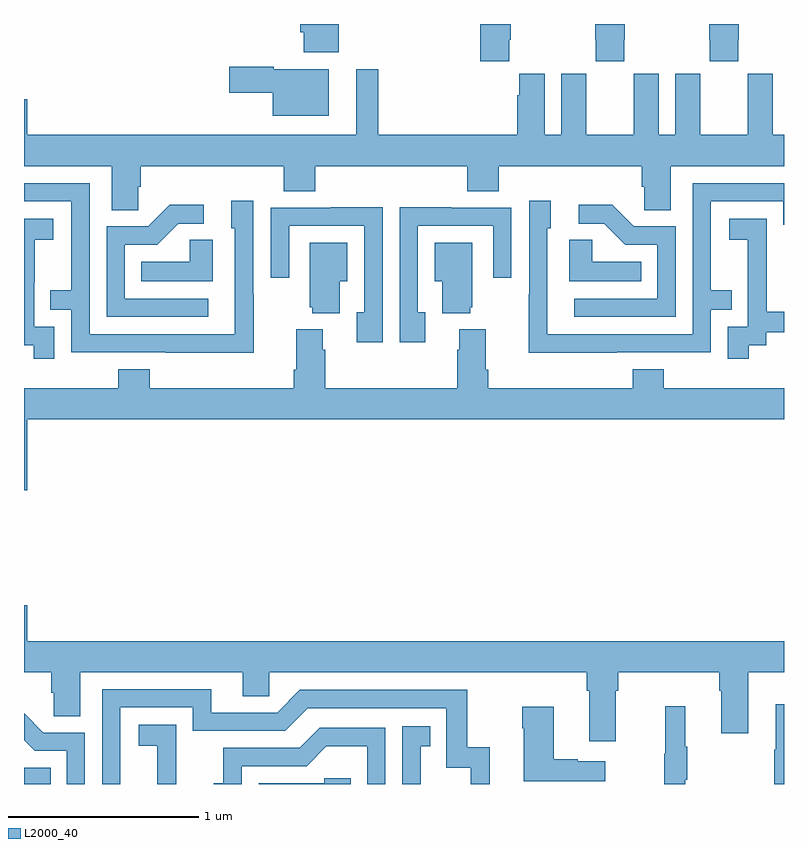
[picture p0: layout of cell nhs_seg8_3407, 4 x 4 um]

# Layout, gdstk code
import gdstk
lib = gdstk.Library(unit=1e-6, precision=1e-09)
def R(c, l, rs):  # rectangles x0, y0, x1, y1
    for r in rs: c.add(gdstk.rectangle(r[:2], r[2:], *l))
def P(c, l, *ps):  # polygons
    for p in ps: c.add(gdstk.Polygon(p, *l))
L2000_40 = (2000, 40)

nhs_seg8_3407 = lib.new_cell('nhs_seg8_3407')
R(nhs_seg8_3407, L2000_40, [(321,1127.9,321.14,1127.986)])
P(nhs_seg8_3407, L2000_40, [(322.657,1131.9),(322.453,1131.9),(322.453,1131.856),(322.473,1131.856),(322.473,1131.752),(322.657,1131.752)],
  [(324.759,1131.817),(324.762,1131.817),(324.762,1131.9),(324.607,1131.9),(324.607,1131.817),(324.609,1131.817),(324.609,1131.705),(324.759,1131.705)],
  [(324.159,1131.817),(324.162,1131.817),(324.162,1131.9),(324.007,1131.9),(324.007,1131.817),(324.009,1131.817),(324.009,1131.705),(324.159,1131.705)],
  [(323.555,1131.817),(323.562,1131.817),(323.562,1131.9),(323.402,1131.9),(323.402,1131.705),(323.555,1131.705)],
  [(322.603,1131.661),(322.314,1131.661),(322.314,1131.674),(322.08,1131.674),(322.08,1131.539),(322.31,1131.539),(322.31,1131.416),(322.603,1131.416)],
  [(321.6,1131.043),(321.614,1131.043),(321.614,1131.152),(322.367,1131.152),(322.367,1131.019),(322.532,1131.019),(322.532,1131.152),(323.333,1131.152),(323.333,1131.019),(323.498,1131.019),(323.498,1131.152),(324.251,1131.152),(324.251,1131.043),(324.264,1131.043),(324.264,1130.92),(324.403,1130.92),(324.403,1131.152),(325,1131.152),(325,1131.316),(324.94,1131.316),(324.94,1131.637),(324.81,1131.637),(324.81,1131.524),(324.809,1131.524),(324.809,1131.316),(324.559,1131.316),(324.559,1131.524),(324.558,1131.524),(324.558,1131.637),(324.428,1131.637),(324.428,1131.316),(324.34,1131.316),(324.34,1131.637),(324.21,1131.637),(324.21,1131.524),(324.209,1131.524),(324.209,1131.316),(323.959,1131.316),(323.959,1131.524),(323.958,1131.524),(323.958,1131.637),(323.828,1131.637),(323.828,1131.316),(323.74,1131.316),(323.74,1131.637),(323.606,1131.637),(323.606,1131.524),(323.597,1131.524),(323.597,1131.316),(322.865,1131.316),(322.865,1131.661),(322.748,1131.661),(322.748,1131.316),(321.016,1131.316),(321.016,1131.505),(321,1131.505),(321,1131.152),(321.461,1131.152),(321.461,1130.92),(321.6,1130.92)],
  [(322.209,1130.477),(322.206,1130.477),(322.206,1130.971),(322.091,1130.971),(322.091,1130.826),(322.11,1130.826),(322.11,1130.268),(321.345,1130.268),(321.345,1131.063),(321,1131.063),(321,1130.967),(321.249,1130.967),(321.249,1130.498),(321.139,1130.498),(321.139,1130.397),(321.249,1130.397),(321.249,1130.172),(321.745,1130.172),(321.745,1130.171),(322.209,1130.171)],
  [(324.119,1130.172),(324.615,1130.172),(324.615,1130.397),(324.725,1130.397),(324.725,1130.498),(324.615,1130.498),(324.615,1130.967),(324.996,1130.967),(324.996,1130.844),(325,1130.844),(325,1131.063),(324.519,1131.063),(324.519,1130.268),(323.754,1130.268),(323.754,1130.826),(323.773,1130.826),(323.773,1130.971),(323.658,1130.971),(323.658,1130.477),(323.656,1130.477),(323.656,1130.171),(324.119,1130.171)],
  [(324.429,1130.835),(324.21,1130.835),(324.097,1130.948),(323.919,1130.948),(323.919,1130.85),(324.053,1130.85),(324.164,1130.739),(324.333,1130.739),(324.333,1130.454),(323.895,1130.454),(323.895,1130.358),(324.429,1130.358)],
  [(321.97,1130.454),(321.531,1130.454),(321.531,1130.739),(321.7,1130.739),(321.811,1130.85),(321.946,1130.85),(321.946,1130.948),(321.767,1130.948),(321.654,1130.835),(321.435,1130.835),(321.435,1130.358),(321.97,1130.358)],
  [(323.113,1130.382),(323.073,1130.382),(323.073,1130.838),(323.469,1130.838),(323.469,1130.565),(323.565,1130.565),(323.565,1130.934),(323.249,1130.934),(323.249,1130.936),(322.977,1130.936),(322.977,1130.226),(323.113,1130.226)],
  [(322.887,1130.936),(322.615,1130.936),(322.615,1130.934),(322.299,1130.934),(322.299,1130.565),(322.395,1130.565),(322.395,1130.838),(322.791,1130.838),(322.791,1130.382),(322.751,1130.382),(322.751,1130.226),(322.887,1130.226)],
  [(321.159,1130.307),(321.054,1130.307),(321.054,1130.537),(321.056,1130.537),(321.056,1130.765),(321.154,1130.765),(321.154,1130.875),(321,1130.875),(321,1130.209),(321.051,1130.209),(321.051,1130.139),(321.159,1130.139)],
  [(324.814,1130.209),(324.906,1130.209),(324.906,1130.277),(325,1130.277),(325,1130.386),(324.908,1130.386),(324.908,1130.669),(324.909,1130.669),(324.909,1130.875),(324.711,1130.875),(324.711,1130.765),(324.809,1130.765),(324.809,1130.537),(324.81,1130.537),(324.81,1130.307),(324.705,1130.307),(324.705,1130.139),(324.814,1130.139)],
  [(321.994,1130.765),(321.873,1130.765),(321.873,1130.65),(321.616,1130.65),(321.616,1130.546),(321.994,1130.546)],
  [(324.248,1130.65),(323.991,1130.65),(323.991,1130.765),(323.87,1130.765),(323.87,1130.546),(324.248,1130.546)],
  [(322.663,1130.546),(322.702,1130.546),(322.702,1130.749),(322.505,1130.749),(322.505,1130.409),(322.517,1130.409),(322.517,1130.378),(322.663,1130.378)],
  [(323.348,1130.409),(323.359,1130.409),(323.359,1130.749),(323.162,1130.749),(323.162,1130.546),(323.201,1130.546),(323.201,1130.378),(323.348,1130.378)],
  [(321.016,1129.82),(325,1129.82),(325,1129.984),(324.368,1129.984),(324.368,1130.083),(324.203,1130.083),(324.203,1129.984),(323.444,1129.984),(323.444,1130.08),(323.431,1130.08),(323.431,1130.293),(323.291,1130.293),(323.291,1130.186),(323.279,1130.186),(323.279,1129.984),(322.586,1129.984),(322.586,1130.186),(322.573,1130.186),(322.573,1130.293),(322.433,1130.293),(322.433,1130.08),(322.421,1130.08),(322.421,1129.984),(321.662,1129.984),(321.662,1130.083),(321.497,1130.083),(321.497,1129.984),(321,1129.984),(321,1129.446),(321.016,1129.446)],
  [(324.115,1128.392),(324.128,1128.392),(324.128,1128.488),(324.659,1128.488),(324.659,1128.392),(324.671,1128.392),(324.671,1128.168),(324.811,1128.168),(324.811,1128.488),(325,1128.488),(325,1128.652),(321.016,1128.652),(321.016,1128.841),(321,1128.841),(321,1128.488),(321.143,1128.488),(321.143,1128.379),(321.156,1128.379),(321.156,1128.256),(321.295,1128.256),(321.295,1128.488),(322.151,1128.488),(322.151,1128.361),(322.29,1128.361),(322.29,1128.488),(323.963,1128.488),(323.963,1128.392),(323.975,1128.392),(323.975,1128.126),(324.115,1128.126)],
  [(321.507,1128.303),(321.888,1128.303),(321.888,1128.18),(322.374,1128.18),(322.494,1128.3),(323.223,1128.3),(323.223,1127.985),(323.352,1127.985),(323.352,1127.9),(323.45,1127.9),(323.45,1128.094),(323.332,1128.094),(323.332,1128.396),(322.452,1128.396),(322.332,1128.276),(321.985,1128.276),(321.985,1128.399),(321.411,1128.399),(321.411,1127.9),(321.507,1127.9)],
  [(325,1128.319),(324.956,1128.319),(324.956,1128.08),(324.949,1128.08),(324.949,1127.9),(325,1127.9)],
  [(324.479,1127.923),(324.49,1127.923),(324.49,1128.097),(324.479,1128.097),(324.479,1128.31),(324.376,1128.31),(324.376,1128.06),(324.369,1128.06),(324.369,1127.9),(324.479,1127.9)],
  [(324.058,1128.019),(323.915,1128.019),(323.915,1128.029),(323.788,1128.029),(323.788,1128.307),(323.623,1128.307),(323.623,1128.194),(323.63,1128.194),(323.63,1127.915),(324.058,1127.915)],
  [(321.321,1128.171),(321.102,1128.171),(321,1128.273),(321,1128.131),(321.056,1128.075),(321.225,1128.075),(321.225,1127.9),(321.321,1127.9)],
  [(321.8,1128.005),(321.801,1128.005),(321.801,1128.211),(321.603,1128.211),(321.603,1128.101),(321.701,1128.101),(321.701,1127.9),(321.8,1127.9)],
  [(323.089,1128.099),(323.138,1128.099),(323.138,1128.205),(322.992,1128.205),(322.992,1127.9),(323.089,1127.9)],
  [(322.146,1127.994),(322.488,1127.994),(322.592,1128.098),(322.806,1128.098),(322.806,1127.9),(322.902,1127.9),(322.902,1128.195),(322.556,1128.195),(322.451,1128.09),(322.048,1128.09),(322.048,1127.905),(321.999,1127.905),(321.999,1127.9),(322.146,1127.9)],
  [(322.721,1127.931),(322.581,1127.931),(322.581,1127.904),(322.236,1127.904),(322.236,1127.9),(322.721,1127.9)])

lib.write_gds('nhs_seg8_3407.gds')
